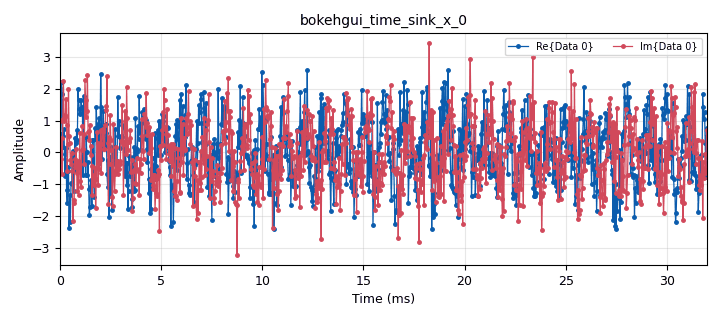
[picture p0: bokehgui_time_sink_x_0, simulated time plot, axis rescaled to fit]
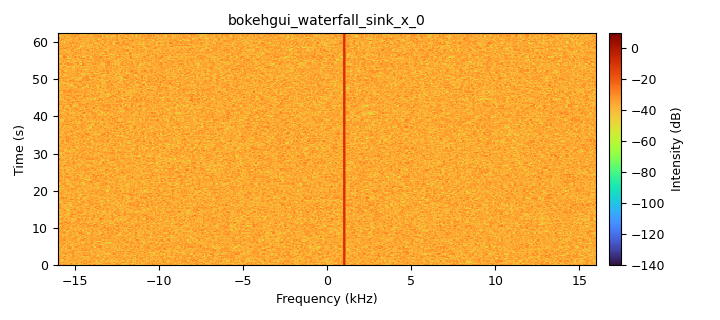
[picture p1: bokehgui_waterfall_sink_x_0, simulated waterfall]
options:
  parameters:
    author: Allison Ogechukwu
    generate_options: bokeh_gui
    id: test_bokehgui
    output_language: python
    title: BokehGUI test
  states: {}

blocks:
- name: samp_rate
  id: variable
  parameters:
    value: '32000'
  states: {}
- name: analog_noise_source_x_0
  id: analog_noise_source_x
  parameters:
    amp: '1'
    noise_type: analog.GR_GAUSSIAN
    seed: '0'
    type: complex
  states: {}
- name: analog_sig_source_x_0
  id: analog_sig_source_x
  parameters:
    amp: '1'
    freq: '1000'
    offset: '0'
    phase: '0'
    samp_rate: samp_rate
    type: complex
    waveform: analog.GR_COS_WAVE
  states: {}
- name: blocks_add_xx_0
  id: blocks_add_xx
  parameters:
    type: complex
  states: {}
- name: blocks_throttle_0
  id: blocks_throttle
  parameters:
    samples_per_second: samp_rate
    type: complex
  states: {}
- name: bokehgui_time_sink_x_0
  id: bokehgui_time_sink_x
  parameters:
    alpha1: '1.0'
    alpha2: '1.0'
    axislabels: 'True'
    color1: '"blue"'
    color2: '"red"'
    entags: 'True'
    grid: 'False'
    label1: ''
    label2: ''
    legend: 'True'
    marker1: None
    marker2: None
    name: '""'
    nconnections: '1'
    placement: (0, 2, 2,1)
    size: '1024'
    srate: samp_rate
    style1: '"solid"'
    style2: '"solid"'
    tr_chan: '0'
    tr_delay: '0'
    tr_level: '0.0'
    tr_mode: bokehgui.TRIG_MODE_FREE
    tr_slope: bokehgui.TRIG_SLOPE_POS
    tr_tag: '""'
    type: complex
    update_time: '100'
    width1: '1'
    width2: '1'
    xlabel: Time
    xlog: 'False'
    xunit: '""'
    ylabel: Amplitude
    ylog: 'True'
    ymax: '1'
    ymin: '-1'
    yunit: '""'
  states: {}
- name: bokehgui_waterfall_sink_x_0
  id: bokehgui_waterfall_sink_x
  parameters:
    bw: samp_rate
    color: Inferno
    fc: '0'
    fftsize: '1024'
    grid: 'False'
    int_max: '10'
    int_min: '-140'
    label: ''
    legend: 'True'
    name: '""'
    placement: (0,0,2,2)
    type: complex
    update_time: '100'
    wintype: window.WIN_BLACKMAN_hARRIS
    xlabel: Frequency
    xunit: Hz
    ylabel: Time
    yunit: ''
  states: {}

connections:
- [analog_noise_source_x_0, '0', blocks_add_xx_0, '1']
- [analog_sig_source_x_0, '0', blocks_add_xx_0, '0']
- [blocks_add_xx_0, '0', blocks_throttle_0, '0']
- [blocks_throttle_0, '0', bokehgui_time_sink_x_0, '0']
- [blocks_throttle_0, '0', bokehgui_waterfall_sink_x_0, '0']

metadata:
  file_format: 1
  grc_version: 3.10.3.0
